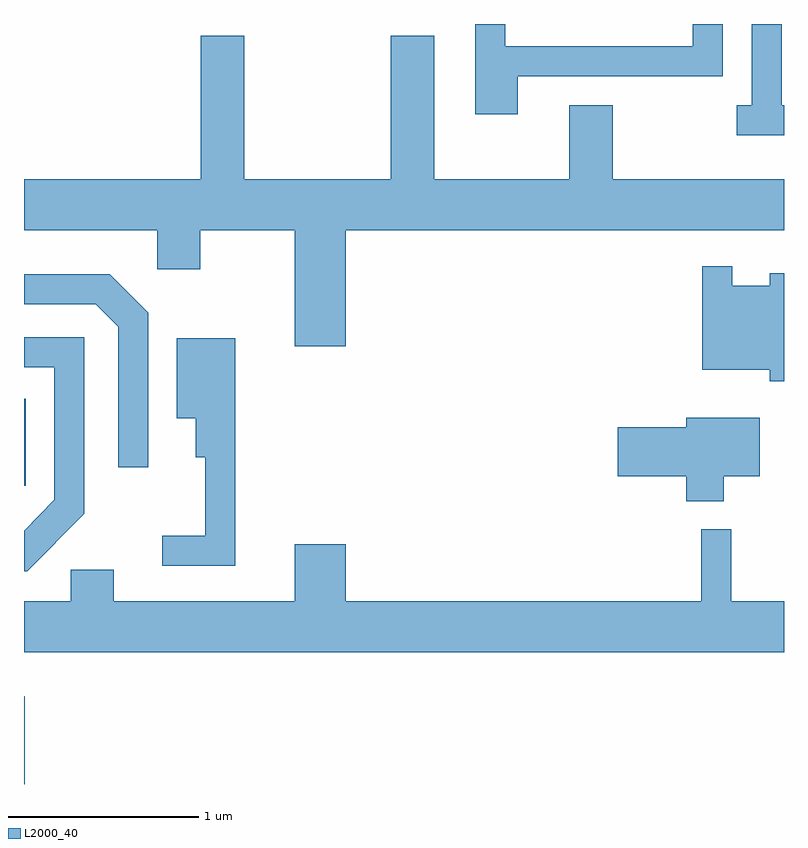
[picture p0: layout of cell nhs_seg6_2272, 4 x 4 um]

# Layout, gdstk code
import gdstk
lib = gdstk.Library(unit=1e-6, precision=1e-09)
def R(c, l, rs):  # rectangles x0, y0, x1, y1
    for r in rs: c.add(gdstk.rectangle(r[:2], r[2:], *l))
def P(c, l, *ps):  # polygons
    for p in ps: c.add(gdstk.Polygon(p, *l))
L2000_40 = (2000, 40)

nhs_seg6_2272 = lib.new_cell('nhs_seg6_2272')
R(nhs_seg6_2272, L2000_40, [(253.611,1618.162,253.614,1618.624), (253.611,1619.731,253.619,1620.189)])
P(nhs_seg6_2272, L2000_40, [(257.611,1621.734),(257.599,1621.734),(257.599,1622.162),(257.441,1622.162),(257.441,1621.734),(257.363,1621.734),(257.363,1621.576),(257.611,1621.576)],
  [(256.209,1621.886),(257.289,1621.886),(257.289,1622.162),(257.131,1622.162),(257.131,1622.044),(256.144,1622.044),(256.144,1622.162),(255.986,1622.162),(255.986,1621.686),(256.209,1621.686)],
  [(255.304,1621.076),(257.611,1621.076),(257.611,1621.344),(256.709,1621.344),(256.709,1621.734),(256.481,1621.734),(256.481,1621.344),(255.769,1621.344),(255.769,1622.099),(255.541,1622.099),(255.541,1621.344),(254.769,1621.344),(254.769,1622.099),(254.541,1622.099),(254.541,1621.344),(253.611,1621.344),(253.611,1621.076),(254.311,1621.076),(254.311,1620.871),(254.539,1620.871),(254.539,1621.076),(255.036,1621.076),(255.036,1620.466),(255.304,1620.466)],
  [(257.611,1620.849),(257.536,1620.849),(257.536,1620.784),(257.339,1620.784),(257.339,1620.888),(257.181,1620.888),(257.181,1620.341),(257.536,1620.341),(257.536,1620.281),(257.611,1620.281)],
  [(254.264,1620.642),(254.062,1620.844),(253.611,1620.844),(253.611,1620.686),(253.989,1620.686),(254.106,1620.569),(254.106,1619.828),(254.264,1619.828)],
  [(253.929,1619.584),(253.929,1620.514),(253.611,1620.514),(253.611,1620.356),(253.771,1620.356),(253.771,1619.657),(253.611,1619.496),(253.611,1619.281),(253.627,1619.281)],
  [(254.724,1620.509),(254.416,1620.509),(254.416,1620.086),(254.516,1620.086),(254.516,1619.881),(254.566,1619.881),(254.566,1619.469),(254.338,1619.469),(254.338,1619.311),(254.724,1619.311)],
  [(257.294,1619.781),(257.484,1619.781),(257.484,1620.089),(257.096,1620.089),(257.096,1620.039),(256.736,1620.039),(256.736,1619.781),(257.096,1619.781),(257.096,1619.651),(257.294,1619.651)],
  [(257.611,1619.124),(257.334,1619.124),(257.334,1619.503),(257.176,1619.503),(257.176,1619.124),(255.304,1619.124),(255.304,1619.424),(255.036,1619.424),(255.036,1619.124),(254.084,1619.124),(254.084,1619.289),(253.856,1619.289),(253.856,1619.124),(253.611,1619.124),(253.611,1618.856),(257.611,1618.856)])

lib.write_gds('nhs_seg6_2272.gds')
